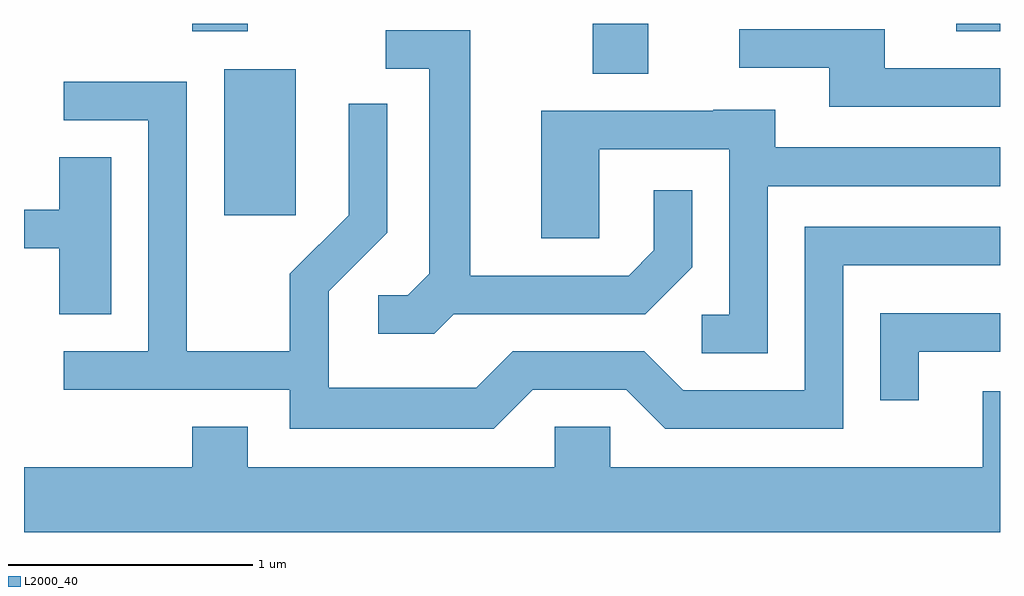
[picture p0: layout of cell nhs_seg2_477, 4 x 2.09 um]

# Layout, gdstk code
import gdstk
lib = gdstk.Library(unit=1e-6, precision=1e-09)
def R(c, l, rs):  # rectangles x0, y0, x1, y1
    for r in rs: c.add(gdstk.rectangle(r[:2], r[2:], *l))
def P(c, l, *ps):  # polygons
    for p in ps: c.add(gdstk.Polygon(p, *l))
L2000_40 = (2000, 40)

nhs_seg2_477 = lib.new_cell('nhs_seg2_477')
R(nhs_seg2_477, L2000_40, [(200.431,983.016,200.724,983.614), (201.941,983.596,202.169,983.802), (200.301,983.771,200.529,983.802), (203.431,983.771,203.611,983.802)])
P(nhs_seg2_477, L2000_40, [(203.611,983.619),(203.139,983.619),(203.139,983.779),(202.543,983.779),(202.543,983.621),(202.911,983.621),(202.911,983.461),(203.611,983.461)],
  [(201.372,982.611),(202.157,982.611),(202.349,982.804),(202.349,983.118),(202.191,983.118),(202.191,982.872),(202.089,982.769),(201.439,982.769),(201.439,983.774),(201.093,983.774),(201.093,983.616),(201.271,983.616),(201.271,982.777),(201.184,982.689),(201.063,982.689),(201.063,982.531),(201.292,982.531)],
  [(201.697,982.301),(202.079,982.301),(202.239,982.141),(202.969,982.141),(202.969,982.811),(203.611,982.811),(203.611,982.969),(202.811,982.969),(202.811,982.299),(202.312,982.299),(202.152,982.459),(201.614,982.459),(201.464,982.309),(200.859,982.309),(200.859,982.704),(201.099,982.944),(201.099,983.473),(200.941,983.473),(200.941,983.017),(200.701,982.777),(200.701,982.459),(200.279,982.459),(200.279,983.564),(199.773,983.564),(199.773,983.406),(200.121,983.406),(200.121,982.459),(199.773,982.459),(199.773,982.301),(200.701,982.301),(200.701,982.141),(201.537,982.141)],
  [(202.659,983.136),(203.611,983.136),(203.611,983.294),(202.689,983.294),(202.689,983.449),(202.435,983.449),(202.435,983.444),(201.731,983.444),(201.731,982.921),(201.969,982.921),(201.969,983.286),(202.501,983.286),(202.501,982.609),(202.388,982.609),(202.388,982.451),(202.659,982.451)],
  [(199.969,983.254),(199.756,983.254),(199.756,983.039),(199.611,983.039),(199.611,982.881),(199.756,982.881),(199.756,982.611),(199.969,982.611)],
  [(203.279,982.456),(203.611,982.456),(203.611,982.614),(203.121,982.614),(203.121,982.258),(203.279,982.258)],
  [(203.611,982.294),(203.541,982.294),(203.541,981.984),(202.014,981.984),(202.014,982.149),(201.786,982.149),(201.786,981.984),(200.529,981.984),(200.529,982.149),(200.301,982.149),(200.301,981.984),(199.611,981.984),(199.611,981.716),(203.611,981.716)])

lib.write_gds('nhs_seg2_477.gds')
